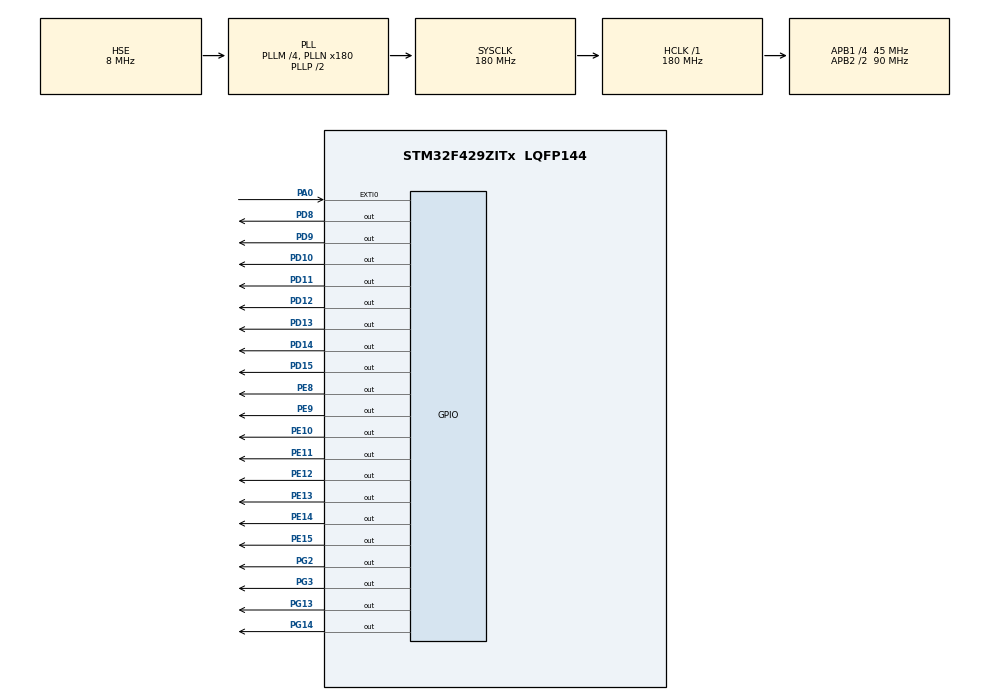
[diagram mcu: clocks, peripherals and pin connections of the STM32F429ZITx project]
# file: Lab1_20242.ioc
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Mcu.Family=STM32F4
Mcu.Name=STM32F429ZITx
Mcu.Package=LQFP144
NVIC.EXTI0_IRQn=true\:0\:0\:false\:false\:true\:true\:true\:true
NVIC.PriorityGroup=NVIC_PRIORITYGROUP_4
NVIC.TIM6_DAC_IRQn=true\:0\:0\:false\:false\:true\:true\:true\:true
PA0/WKUP.Signal=GPXTI0
PD10.Signal=GPIO_Output
PD11.Signal=GPIO_Output
PD12.Signal=GPIO_Output
PD13.Signal=GPIO_Output
PD14.Signal=GPIO_Output
PD15.Signal=GPIO_Output
PD8.Signal=GPIO_Output
PD9.Signal=GPIO_Output
PE10.Signal=GPIO_Output
PE11.Signal=GPIO_Output
PE12.Signal=GPIO_Output
PE13.Signal=GPIO_Output
PE14.Signal=GPIO_Output
PE15.Signal=GPIO_Output
PE8.Signal=GPIO_Output
PE9.Signal=GPIO_Output
PG13.Signal=GPIO_Output
PG14.Signal=GPIO_Output
PG2.Signal=GPIO_Output
PG3.Signal=GPIO_Output
PH0/OSC_IN.Mode=HSE-External-Oscillator
PH0/OSC_IN.Signal=RCC_OSC_IN
PH1/OSC_OUT.Mode=HSE-External-Oscillator
PH1/OSC_OUT.Signal=RCC_OSC_OUT
ProjectManager.HeapSize=0x200
ProjectManager.StackSize=0x400
ProjectManager.TargetToolchain=STM32CubeIDE
RCC.48MHZClocksFreq_Value=90000000
RCC.AHBFreq_Value=180000000
RCC.APB1CLKDivider=RCC_HCLK_DIV4
RCC.APB1Freq_Value=45000000
RCC.APB1TimFreq_Value=90000000
RCC.APB2CLKDivider=RCC_HCLK_DIV2
RCC.APB2Freq_Value=90000000
RCC.APB2TimFreq_Value=180000000
RCC.CortexFreq_Value=180000000
RCC.HCLKFreq_Value=180000000
RCC.HSE_VALUE=8000000
RCC.HSI_VALUE=16000000
RCC.LSE_VALUE=32768
RCC.PLLM=4
RCC.PLLN=180
RCC.PLLSourceVirtual=RCC_PLLSOURCE_HSE
RCC.SYSCLKFreq_VALUE=180000000
RCC.SYSCLKSource=RCC_SYSCLKSOURCE_PLLCLK
RCC.VCOOutputFreq_Value=360000000
TIM6.Period=99
TIM6.Prescaler=89
VP_TIM6_VS_ClockSourceINT.Mode=Enable_Timer
board=custom

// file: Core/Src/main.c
/* USER CODE BEGIN Header */
/**
  ******************************************************************************
  * @file           : main.c
  * @brief          : Main program body
  ******************************************************************************
  * @attention
  *
  * Copyright (c) 2025 STMicroelectronics.
  * All rights reserved.
  *
  * This software is licensed under terms that can be found in the LICENSE file
  * in the root directory of this software component.
  * If no LICENSE file comes with this software, it is provided AS-IS.
  *
  ******************************************************************************
  */
/* USER CODE END Header */
#include "main.h"

TIM_HandleTypeDef htim6;

/* USER CODE BEGIN PV */
int TIM6_Count;
/* USER CODE END PV */

void SystemClock_Config(void);
static void MX_GPIO_Init(void);
static void MX_TIM6_Init(void);

/* USER CODE BEGIN 0 */
unsigned char LED_Value;
int step = 0;
int left = 0;   // bắt đầu từ bên trái
int right = 7;  // bắt đầu từ bên phải
void DisplayLEDs(int mode) {
	if (mode == 1){
		if(step) LED_Value = (LED_Value >> 1) | (LED_Value << 7);
		else
		{
			LED_Value = 0x80;
			step++;
		}
	}
	if (mode == 2){
		if(step) LED_Value = (LED_Value << 1) | (LED_Value >> 7);
		else
		{
			LED_Value = 0x01;
			step++;
		}
	}
	if (mode == 3){
		if(step%2==0) LED_Value = 0xFF;
		else  LED_Value = 0x00;
		step++;
	}
	if (mode == 4) {
	    LED_Value = (1 << left) | (1 << right);
	    if (left < 3 && right > 4){
	    	left++;
	    	right--;
	    }
	    else
	    {
	    	if(left > 0 && right < 7){
	    		left--;
	    		right++;
	    	}
	    }
	}

	if (LED_Value & 0x80)
		HAL_GPIO_WritePin(GPIOD, GPIO_PIN_15, GPIO_PIN_SET);
	else
		HAL_GPIO_WritePin(GPIOD, GPIO_PIN_15, GPIO_PIN_RESET);
	if (LED_Value & 0x40)
		HAL_GPIO_WritePin(GPIOD, GPIO_PIN_14, GPIO_PIN_SET);
	else
		HAL_GPIO_WritePin(GPIOD, GPIO_PIN_14, GPIO_PIN_RESET);
	if (LED_Value & 0x20)
		HAL_GPIO_WritePin(GPIOD, GPIO_PIN_13, GPIO_PIN_SET);
	else
		HAL_GPIO_WritePin(GPIOD, GPIO_PIN_13, GPIO_PIN_RESET);
	if (LED_Value & 0x10)
		HAL_GPIO_WritePin(GPIOD, GPIO_PIN_12, GPIO_PIN_SET);
	else
		HAL_GPIO_WritePin(GPIOD, GPIO_PIN_12, GPIO_PIN_RESET);
	if (LED_Value & 0x8)
		HAL_GPIO_WritePin(GPIOD, GPIO_PIN_11, GPIO_PIN_SET);
	else
		HAL_GPIO_WritePin(GPIOD, GPIO_PIN_11, GPIO_PIN_RESET);
	if (LED_Value & 0x4)
		HAL_GPIO_WritePin(GPIOD, GPIO_PIN_10, GPIO_PIN_SET);
	else
		HAL_GPIO_WritePin(GPIOD, GPIO_PIN_10, GPIO_PIN_RESET);
	if (LED_Value & 0x2)
		HAL_GPIO_WritePin(GPIOD, GPIO_PIN_9, GPIO_PIN_SET);
	else
		HAL_GPIO_WritePin(GPIOD, GPIO_PIN_9, GPIO_PIN_RESET);
	if (LED_Value & 0x1)
		HAL_GPIO_WritePin(GPIOD, GPIO_PIN_8, GPIO_PIN_SET);
	else
		HAL_GPIO_WritePin(GPIOD, GPIO_PIN_8, GPIO_PIN_RESET);
}
int display_value = 0;
void HAL_GPIO_EXTI_Callback(uint16_t GPIO_Pin) {
    if (GPIO_Pin == GPIO_PIN_0) {
        display_value++;
        if (display_value > 99) {
            display_value = 0;
        }
        Set7SegDisplayValue(display_value);
    }
}

/* USER CODE END 0 */

int main(void)
{

  /* USER CODE BEGIN 1 */
  TIM6_Count = 0;
  /* USER CODE END 1 */

  /* MCU Configuration--------------------------------------------------------*/

  /* Reset of all peripherals, Initializes the Flash interface and the Systick. */
  HAL_Init();

  /* Configure the system clock */
  SystemClock_Config();

  /* Initialize all configured peripherals */
  MX_GPIO_Init();
  MX_TIM6_Init();
  /* USER CODE BEGIN 2 */
  HAL_TIM_Base_Start_IT(&htim6);
  Set7SegDisplayValue(00);
  /* USER CODE END 2 */

  /* Infinite loop */
  /* USER CODE BEGIN WHILE */
  LED_Value = 1;
  while (1)
  {
  HAL_Delay(5);
  DisplayLEDs(1);
  Run7SegDisplay();
    /* USER CODE END WHILE */

    /* USER CODE BEGIN 3 */
  }

  /* USER CODE END 2 */

  /* Infinite loop */
  /* USER CODE BEGIN WHILE */
  //bai 3.1
//  while (1)
//  {
//	  for(int i=1; i<=4; i++){
//		  for(int j=1; j<=16; j++){
//			  DisplayLEDs(i);
//			  if(j==8 || j==16){
//				  step=0;
//			  }
//		  }
//		  HAL_GPIO_WritePin(GPIOD, GPIO_PIN_8, GPIO_PIN_RESET);
//		  HAL_GPIO_WritePin(GPIOD, GPIO_PIN_9, GPIO_PIN_RESET);
//		  HAL_GPIO_WritePin(GPIOD, GPIO_PIN_15, GPIO_PIN_RESET);
//	  }
//
//
//	  //DisplayLEDs(4);
//
//    /* USER CODE END WHILE */
//
//    /* USER CODE BEGIN 3 */
//  }
  /* USER CODE END 3 */
}

void SystemClock_Config(void)
{
  RCC_OscInitTypeDef RCC_OscInitStruct = {0};
  RCC_ClkInitTypeDef RCC_ClkInitStruct = {0};

  /** Configure the main internal regulator output voltage
  */
  __HAL_RCC_PWR_CLK_ENABLE();
  __HAL_PWR_VOLTAGESCALING_CONFIG(PWR_REGULATOR_VOLTAGE_SCALE1);

  /** Initializes the RCC Oscillators according to the specified parameters
  * in the RCC_OscInitTypeDef structure.
  */
  RCC_OscInitStruct.OscillatorType = RCC_OSCILLATORTYPE_HSE;
  RCC_OscInitStruct.HSEState = RCC_HSE_ON;
  RCC_OscInitStruct.PLL.PLLState = RCC_PLL_ON;
  RCC_OscInitStruct.PLL.PLLSource = RCC_PLLSOURCE_HSE;
  RCC_OscInitStruct.PLL.PLLM = 4;
  RCC_OscInitStruct.PLL.PLLN = 180;
  RCC_OscInitStruct.PLL.PLLP = RCC_PLLP_DIV2;
  RCC_OscInitStruct.PLL.PLLQ = 4;
  if (HAL_RCC_OscConfig(&RCC_OscInitStruct) != HAL_OK)
  {
    Error_Handler();
  }

  /** Activate the Over-Drive mode
  */
  if (HAL_PWREx_EnableOverDrive() != HAL_OK)
  {
    Error_Handler();
  }

  /** Initializes the CPU, AHB and APB buses clocks
  */
  RCC_ClkInitStruct.ClockType = RCC_CLOCKTYPE_HCLK|RCC_CLOCKTYPE_SYSCLK
                              |RCC_CLOCKTYPE_PCLK1|RCC_CLOCKTYPE_PCLK2;
  RCC_ClkInitStruct.SYSCLKSource = RCC_SYSCLKSOURCE_PLLCLK;
  RCC_ClkInitStruct.AHBCLKDivider = RCC_SYSCLK_DIV1;
  RCC_ClkInitStruct.APB1CLKDivider = RCC_HCLK_DIV4;
  RCC_ClkInitStruct.APB2CLKDivider = RCC_HCLK_DIV2;

  if (HAL_RCC_ClockConfig(&RCC_ClkInitStruct, FLASH_LATENCY_5) != HAL_OK)
  {
    Error_Handler();
  }
}

static void MX_TIM6_Init(void)
{

  TIM_MasterConfigTypeDef sMasterConfig = {0};

  htim6.Instance = TIM6;
  htim6.Init.Prescaler = 89;
  htim6.Init.CounterMode = TIM_COUNTERMODE_UP;
  htim6.Init.Period = 99;
  htim6.Init.AutoReloadPreload = TIM_AUTORELOAD_PRELOAD_DISABLE;
  if (HAL_TIM_Base_Init(&htim6) != HAL_OK)
  {
    Error_Handler();
  }
  sMasterConfig.MasterOutputTrigger = TIM_TRGO_RESET;
  sMasterConfig.MasterSlaveMode = TIM_MASTERSLAVEMODE_DISABLE;
  if (HAL_TIMEx_MasterConfigSynchronization(&htim6, &sMasterConfig) != HAL_OK)
  {
    Error_Handler();
  }

}

static void MX_GPIO_Init(void)
{
  GPIO_InitTypeDef GPIO_InitStruct = {0};

  /* GPIO Ports Clock Enable */
  __HAL_RCC_GPIOH_CLK_ENABLE();
  __HAL_RCC_GPIOA_CLK_ENABLE();
  __HAL_RCC_GPIOE_CLK_ENABLE();
  __HAL_RCC_GPIOD_CLK_ENABLE();
  __HAL_RCC_GPIOG_CLK_ENABLE();

  /*Configure GPIO pin Output Level */
  HAL_GPIO_WritePin(GPIOE, GPIO_PIN_8|GPIO_PIN_9|GPIO_PIN_10|GPIO_PIN_11
                          |GPIO_PIN_12|GPIO_PIN_13|GPIO_PIN_14|GPIO_PIN_15, GPIO_PIN_RESET);

  /*Configure GPIO pin Output Level */
  HAL_GPIO_WritePin(GPIOD, GPIO_PIN_8|GPIO_PIN_9|GPIO_PIN_10|GPIO_PIN_11
                          |GPIO_PIN_12|GPIO_PIN_13|GPIO_PIN_14|GPIO_PIN_15, GPIO_PIN_RESET);

  /*Configure GPIO pin Output Level */
  HAL_GPIO_WritePin(GPIOG, GPIO_PIN_2|GPIO_PIN_3|GPIO_PIN_13|GPIO_PIN_14, GPIO_PIN_RESET);

  /*Configure GPIO pin : PA0 */
  GPIO_InitStruct.Pin = GPIO_PIN_0;
  GPIO_InitStruct.Mode = GPIO_MODE_IT_RISING;
  GPIO_InitStruct.Pull = GPIO_NOPULL;
  HAL_GPIO_Init(GPIOA, &GPIO_InitStruct);

  /*Configure GPIO pins : PE8 PE9 PE10 PE11
                           PE12 PE13 PE14 PE15 */
  GPIO_InitStruct.Pin = GPIO_PIN_8|GPIO_PIN_9|GPIO_PIN_10|GPIO_PIN_11
                          |GPIO_PIN_12|GPIO_PIN_13|GPIO_PIN_14|GPIO_PIN_15;
  GPIO_InitStruct.Mode = GPIO_MODE_OUTPUT_PP;
  GPIO_InitStruct.Pull = GPIO_NOPULL;
  GPIO_InitStruct.Speed = GPIO_SPEED_FREQ_LOW;
  HAL_GPIO_Init(GPIOE, &GPIO_InitStruct);

  /*Configure GPIO pins : PD8 PD9 PD10 PD11
                           PD12 PD13 PD14 PD15 */
  GPIO_InitStruct.Pin = GPIO_PIN_8|GPIO_PIN_9|GPIO_PIN_10|GPIO_PIN_11
                          |GPIO_PIN_12|GPIO_PIN_13|GPIO_PIN_14|GPIO_PIN_15;
  GPIO_InitStruct.Mode = GPIO_MODE_OUTPUT_PP;
  GPIO_InitStruct.Pull = GPIO_NOPULL;
  GPIO_InitStruct.Speed = GPIO_SPEED_FREQ_LOW;
  HAL_GPIO_Init(GPIOD, &GPIO_InitStruct);

  /*Configure GPIO pins : PG2 PG3 PG13 PG14 */
  GPIO_InitStruct.Pin = GPIO_PIN_2|GPIO_PIN_3|GPIO_PIN_13|GPIO_PIN_14;
  GPIO_InitStruct.Mode = GPIO_MODE_OUTPUT_PP;
  GPIO_InitStruct.Pull = GPIO_NOPULL;
  GPIO_InitStruct.Speed = GPIO_SPEED_FREQ_LOW;
  HAL_GPIO_Init(GPIOG, &GPIO_InitStruct);

  /* EXTI interrupt init*/
  HAL_NVIC_SetPriority(EXTI0_IRQn, 0, 0);
  HAL_NVIC_EnableIRQ(EXTI0_IRQn);

}

void Error_Handler(void)
{
  __disable_irq();
  while (1)
  {
  }
}
